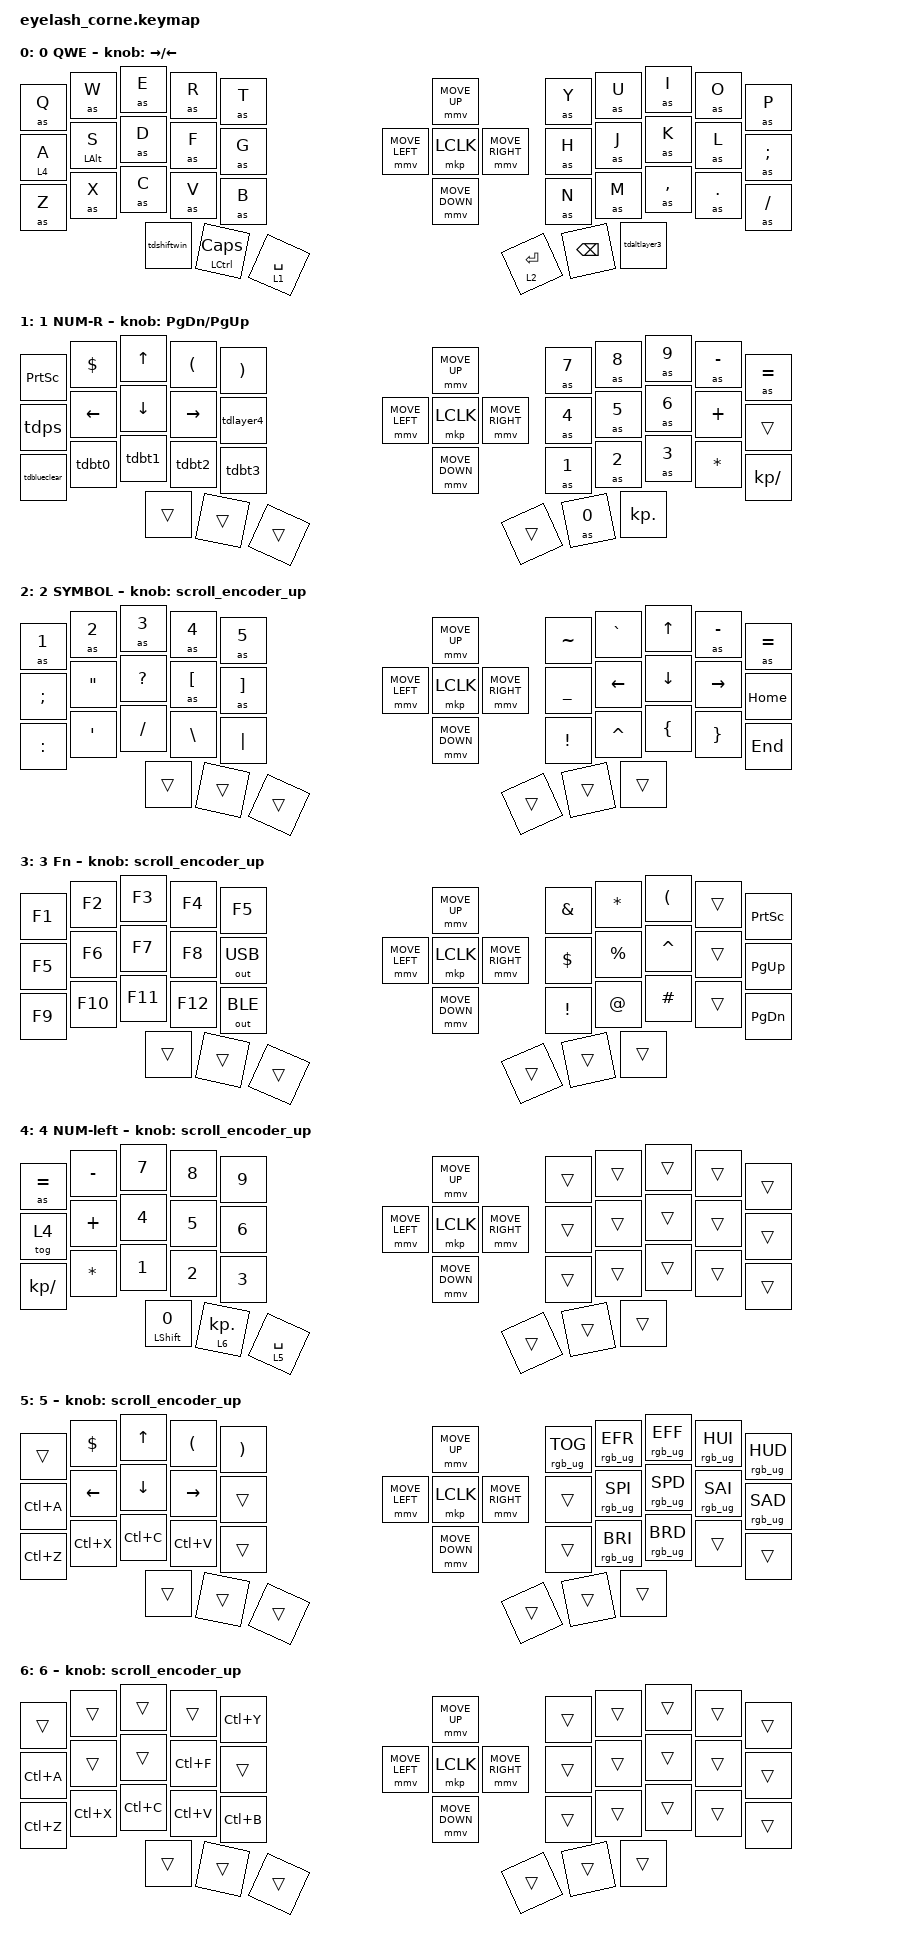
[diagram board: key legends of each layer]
#define ZMK_POINTING_DEFAULT_MOVE_VAL 1200  // 600
#define ZMK_POINTING_DEFAULT_SCRL_VAL 25   // 10

#include <input/processors.dtsi>
#include <zephyr/dt-bindings/input/input-event-codes.h>
#include <behaviors.dtsi>
#include <dt-bindings/zmk/bt.h>
#include <dt-bindings/zmk/keys.h>
#include <dt-bindings/zmk/outputs.h>
#include <dt-bindings/zmk/pointing.h>
#include <dt-bindings/zmk/rgb.h>

&mmv_input_listener { input-processors = <&zip_xy_scaler 2 1>; };

&msc_input_listener { input-processors = <&zip_scroll_scaler 2 1>; };

&msc {
    acceleration-exponent = <1>;      // 0
    time-to-max-speed-ms = <100>;       // 300
    delay-ms = <0>;                   // 0
};

&mmv {
    time-to-max-speed-ms = <500>;
    acceleration-exponent = <1>;
    trigger-period-ms = <16>;
};

&soft_off { hold-time-ms = <2000>; };

/ {
    behaviors {
        hm: hm {
            compatible = "zmk,behavior-hold-tap";
            label = "HM";
            bindings = <&kp>, <&kp>;

            #binding-cells = <2>;
            tapping-term-ms = <200>;
            flavor = "balanced";
        };

        as_ht: autoshift_hold_tap {
            compatible = "zmk,behavior-hold-tap";
            label = "AUTOSHIFT_HOLD_TAP";
            #binding-cells = <2>;
            tapping-term-ms = <160>;
            bindings = <&shifted>, <&kp>;

            flavor = "tap-preferred";
        };

        tdshiftwin: tdshiftwin {
            compatible = "zmk,behavior-tap-dance";
            label = "TDSHIFTWIN";
            #binding-cells = <0>;
            bindings = <&kp LEFT_SHIFT>, <&kp LEFT_WIN>;
        };

        tdaltlayer3: tdaltlayer3 {
            compatible = "zmk,behavior-tap-dance";
            label = "TDALTLAYER3";
            #binding-cells = <0>;
            bindings = <&mo 3>, <&kp RIGHT_ALT>;
        };

        tdlayer4: tdlayer4 {
            compatible = "zmk,behavior-tap-dance";
            label = "TDLAYER4";
            #binding-cells = <0>;
            bindings = <&trans>, <&tog 4>;
        };

        tdbl: tdbl {
            compatible = "zmk,behavior-tap-dance";
            label = "TDBL";
            #binding-cells = <0>;
            bindings = <&none>, <&bootloader>;
        };

        tdblueclear: tdblueclear {
            compatible = "zmk,behavior-tap-dance";
            label = "TDBLUECLEAR";
            #binding-cells = <0>;
            bindings = <&trans>, <&bt BT_CLR_ALL>;
        };

        tdbt2: tdbt2 {
            compatible = "zmk,behavior-tap-dance";
            label = "TDBT2";
            #binding-cells = <0>;
            bindings = <&trans>, <&bt BT_SEL 2>;
        };

        tdbt1: tdbt1 {
            compatible = "zmk,behavior-tap-dance";
            label = "TDBT1";
            #binding-cells = <0>;
            bindings = <&trans>, <&bt BT_SEL 1>;
        };

        tdbt0: tdbt0 {
            compatible = "zmk,behavior-tap-dance";
            label = "TDBT0";
            #binding-cells = <0>;
            bindings = <&trans>, <&bt BT_SEL 0>;
        };

        tp_pw_bl: tp_pw_bl {
            compatible = "zmk,behavior-tap-dance";
            label = "TP_PW_BL";
            #binding-cells = <0>;
            bindings = <&password3VPN>, <&bootloader>;
        };

        tdbt3: tdbt3 {
            compatible = "zmk,behavior-tap-dance";
            label = "TDBT3";
            #binding-cells = <0>;
            bindings = <&none>, <&bt BT_SEL 3>;
        };

        tdps: tdps {
            compatible = "zmk,behavior-tap-dance";
            label = "TDPS";
            #binding-cells = <0>;
            bindings = <&trans>, <&password3VPN>;
        };

        scroll_encoder_left: scroll_encoder_left {
            compatible = "zmk,behavior-sensor-rotate";
            label = "SCROLL_ENCODER_LEFT";
            #sensor-binding-cells = <0>;
            bindings = <&msc SCRL_LEFT>, <&msc SCRL_RIGHT>;
        };

        new_behavior: new_behavior {
            compatible = "zmk,behavior-tap-dance";
            label = "NEW_BEHAVIOR";
            #binding-cells = <0>;
            bindings = <&trans>, <&password3VPN>;
        };
    };

    rgb_encoder: rgb_encoder {
        compatible = "zmk,behavior-sensor-rotate";
        #sensor-binding-cells = <0>;
        bindings = <&rgb_ug RGB_BRI>, <&rgb_ug RGB_BRD>;
    };

    scroll_encoder_up: scroll_encoder {
        compatible = "zmk,behavior-sensor-rotate";
        #sensor-binding-cells = <0>;
        bindings = <&msc SCRL_DOWN>, <&msc SCRL_UP>;

        tap-ms = <5>;
        label = "scroll_encoder";
    };

    combos {
        compatible = "zmk,combos";

        softoff {
            bindings = <&soft_off>;
            key-positions = <0 12 24>;
        };

        bsp-left {
            bindings = <&kp BACKSPACE>;
            key-positions = <2 3>;
            timeout-ms = <30>;
        };

        delete-left {
            bindings = <&kp DELETE>;
            key-positions = <14 13>;
        };

        delete-right {
            bindings = <&kp DELETE>;
            key-positions = <20 21>;
        };

        enter-left {
            bindings = <&kp ENTER>;
            key-positions = <14 37>;
        };

        tab {
            bindings = <&kp TAB>;
            key-positions = <36 13>;
        };

        escape-left {
            bindings = <&kp ESCAPE>;
            key-positions = <0 37>;
        };

        f13 {
            bindings = <&kp F12>;
            key-positions = <4 3>;
        };

        f11 {
            bindings = <&kp F11>;
            key-positions = <14 15>;
        };
    };

    macros {
        shifted: macro_shifted_kp {
            #binding-cells = <1>;
            label = "MACRO_SHIFTED_KP";
            compatible = "zmk,behavior-macro-one-param";
            bindings =
                <&macro_press>,
                <&kp LSHFT &macro_param_1to1>,
                <&macro_tap>,
                <&kp MACRO_PLACEHOLDER>,
                <&macro_release>,
                <&kp LSHFT>;
        };

        as: autoshift {
            compatible = "zmk,behavior-macro-one-param";
            #binding-cells = <1>;
            label = "AUTOSHIFT_KP";
            bindings =
                <&macro_press>,
                <&macro_param_1to1 &macro_param_1to2 &as_ht MACRO_PLACEHOLDER MACRO_PLACEHOLDER>,
                <&macro_pause_for_release>,
                <&macro_release>,
                <&macro_param_1to1 &macro_param_1to2 &as_ht MACRO_PLACEHOLDER MACRO_PLACEHOLDER>;
        };

        password0: PASSWORD1 {
            compatible = "zmk,behavior-macro";
            #binding-cells = <0>;
            bindings = <&kp N1 &kp N3 &kp I &kp N4 &kp N3 &kp N1 &kp S &kp U &kp M &kp M &kp E &kp R &kp LS(R) &kp LS(O) &kp LS(S) &kp LS(E)>;
            label = "PASSWORD1";
            wait-ms = <3>;
        };

        password1: password2 {
            compatible = "zmk,behavior-macro";
            #binding-cells = <0>;
            bindings = <&kp N1 &kp N3 &kp I &kp N4 &kp N3 &kp N1 &kp W &kp I &kp L &kp D &kp LS(L) &kp LS(O) &kp LS(V) &kp LS(E)>;
            label = "PASSWORD2";
            wait-ms = <3>;
        };

        password2: password3 {
            compatible = "zmk,behavior-macro";
            #binding-cells = <0>;
            bindings = <&none &kp N1 &kp N3 &kp I &kp N4 &kp N3 &kp N1 &kp LS(S) &kp LS(U) &kp LS(M) &kp LS(M) &kp LS(E) &kp LS(R) &kp R &kp O &kp S &kp E>;
            label = "PASSWORD3";
            wait-ms = <3>;
        };

        password3VPN: password3VPN {
            compatible = "zmk,behavior-macro";
            #binding-cells = <0>;
            bindings = <&kp N1 &kp N3 &kp EXCL &kp N4 &kp N3 &kp N1 &kp W &kp I &kp L &kp D &kp LS(L) &kp LS(O) &kp LS(V) &kp LS(E)>;
            label = "PASSWORD3VPN";
        };
    };

    keymap {
        compatible = "zmk,keymap";

        default_layer {
            display-name = "0 QWE";
            bindings = <
  &as Q    &as W           &as E        &as R                  &as T                            &mmv MOVE_UP                     &as Y        &as U          &as I         &as O    &as P
  &lt 4 A  &hm LEFT_ALT S  &as D        &as F                  &as G            &mmv MOVE_LEFT  &mkp LCLK       &mmv MOVE_RIGHT  &as H        &as J          &as K         &as L    &as SEMI
  &as Z    &as X           &as C        &as V                  &as B                            &mmv MOVE_DOWN                   &as N        &as M          &as COMMA     &as DOT  &as FSLH
                           &tdshiftwin  &mt LEFT_CONTROL CAPS  &lt 1 SPACE                                                       &lt 2 ENTER  &kp BACKSPACE  &tdaltlayer3
            >;

            sensor-bindings = <&inc_dec_kp RIGHT LEFT_ARROW>;
        };

        lower_layer {
            display-name = "1 NUM-R";
            bindings = <
  &kp PRINTSCREEN  &kp DOLLAR  &kp UP    &kp LEFT_PARENTHESIS  &kp RIGHT_PARENTHESIS                      &mmv MOVE_UP                     &as N7  &as N8  &as N9      &as MINUS  &as EQUAL
  &tdps            &kp LEFT    &kp DOWN  &kp RIGHT             &tdlayer4                  &mmv MOVE_LEFT  &mkp LCLK       &mmv MOVE_RIGHT  &as N4  &as N5  &as N6      &kp PLUS   &trans
  &tdblueclear     &tdbt0      &tdbt1    &tdbt2                &tdbt3                                     &mmv MOVE_DOWN                   &as N1  &as N2  &as N3      &kp ASTRK  &kp KP_DIVIDE
                               &trans    &trans                &trans                                                                      &trans  &as N0  &kp KP_DOT
            >;

            sensor-bindings = <&inc_dec_kp PAGE_DOWN PAGE_UP>;
        };

        raise_layer {
            display-name = "2 SYMBOL";
            bindings = <
  &as N1         &as N2             &as N3        &as N4            &as N5                                 &mmv MOVE_UP                     &kp TILDE        &kp GRAVE  &kp UP    &as MINUS  &as EQUAL
  &kp SEMICOLON  &kp DOUBLE_QUOTES  &kp QUESTION  &as LEFT_BRACKET  &as RIGHT_BRACKET      &mmv MOVE_LEFT  &mkp LCLK       &mmv MOVE_RIGHT  &kp UNDERSCORE   &kp LEFT   &kp DOWN  &kp RIGHT  &kp HOME
  &kp COLON      &kp SQT            &kp SLASH     &kp BACKSLASH     &kp PIPE                               &mmv MOVE_DOWN                   &kp EXCLAMATION  &kp CARET  &kp LBRC  &kp RBRC   &kp END
                                    &trans        &trans            &trans                                                                  &trans           &trans     &trans
            >;

            sensor-bindings = <&scroll_encoder_up>;
        };

        layer_3 {
            display-name = "3 Fn";
            bindings = <
  &kp F1  &kp F2   &kp F3   &kp F4   &kp F5                            &mmv MOVE_UP                     &kp AMPERSAND    &kp ASTERISK  &kp LEFT_PARENTHESIS  &trans  &kp PRINTSCREEN
  &kp F5  &kp F6   &kp F7   &kp F8   &out OUT_USB      &mmv MOVE_LEFT  &mkp LCLK       &mmv MOVE_RIGHT  &kp DOLLAR       &kp PRCNT     &kp CARET             &trans  &kp PAGE_UP
  &kp F9  &kp F10  &kp F11  &kp F12  &out OUT_BLE                      &mmv MOVE_DOWN                   &kp EXCLAMATION  &kp AT_SIGN   &kp HASH              &trans  &kp PAGE_DOWN
                   &trans   &trans   &trans                                                             &trans           &trans        &trans
            >;

            sensor-bindings = <&scroll_encoder_up>;
        };

        layer_4 {
            display-name = "4 NUM-left";
            bindings = <
  &as EQUAL     &kp MINUS     &kp N7             &kp N8        &kp N9                           &mmv MOVE_UP                     &trans  &trans  &trans  &trans  &trans
  &tog 4        &kp PLUS      &kp N4             &kp N5        &kp N6           &mmv MOVE_LEFT  &mkp LCLK       &mmv MOVE_RIGHT  &trans  &trans  &trans  &trans  &trans
  &kp KP_SLASH  &kp ASTERISK  &kp N1             &kp N2        &kp N3                           &mmv MOVE_DOWN                   &trans  &trans  &trans  &trans  &trans
                              &hm LEFT_SHIFT N0  &lt 6 KP_DOT  &lt 5 SPACE                                                       &trans  &trans  &trans
            >;

            sensor-bindings = <&scroll_encoder_up>;
        };

        layer_5 {
            display-name = "5 ";
            bindings = <
  &trans     &kp DOLLAR  &kp UP          &kp LEFT_PARENTHESIS  &kp RIGHT_PARENTHESIS                      &mmv MOVE_UP                     &rgb_ug RGB_TOG  &rgb_ug RGB_EFR  &rgb_ug RGB_EFF  &rgb_ug RGB_HUI  &rgb_ug RGB_HUD
  &kp LC(A)  &kp LEFT    &kp DOWN_ARROW  &kp RIGHT             &trans                     &mmv MOVE_LEFT  &mkp LCLK       &mmv MOVE_RIGHT  &trans           &rgb_ug RGB_SPI  &rgb_ug RGB_SPD  &rgb_ug RGB_SAI  &rgb_ug RGB_SAD
  &kp LC(Z)  &kp LC(X)   &kp LC(C)       &kp LC(V)             &trans                                     &mmv MOVE_DOWN                   &trans           &rgb_ug RGB_BRI  &rgb_ug RGB_BRD  &trans           &trans
                         &trans          &trans                &trans                                                                      &trans           &trans           &trans
            >;

            sensor-bindings = <&scroll_encoder_up>;
        };

        layer_6 {
            display-name = "6";
            bindings = <
  &trans     &trans     &trans     &trans     &kp LC(Y)                      &mmv MOVE_UP                     &trans  &trans  &trans  &trans  &trans
  &kp LC(A)  &trans     &trans     &kp LC(F)  &trans         &mmv MOVE_LEFT  &mkp LCLK       &mmv MOVE_RIGHT  &trans  &trans  &trans  &trans  &trans
  &kp LC(Z)  &kp LC(X)  &kp LC(C)  &kp LC(V)  &kp LC(B)                      &mmv MOVE_DOWN                   &trans  &trans  &trans  &trans  &trans
                        &trans     &trans     &trans                                                          &trans  &trans  &trans
            >;

            sensor-bindings = <&scroll_encoder_up>;
        };
    };
};
